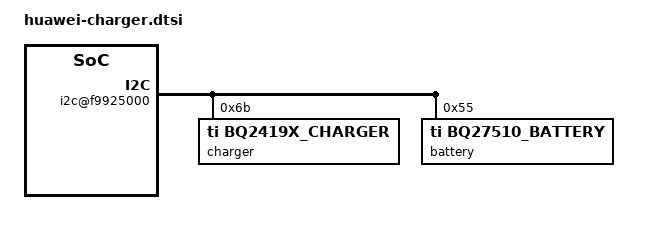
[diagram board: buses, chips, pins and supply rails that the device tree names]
&soc{
    i2c@f9925000 {
       charger: ti,bq2419x {
                cell-index = <0>;
                compatible = "ti,bq2419x_charger";
                reg = <0x6B>;
                max_charger_currentmA = <1880>;
                max_charger_voltagemV = <4200>;
                max_cin_limit_currentmA = <2000>;
                gpio = <114>;
                gpio_int = <67>;
       };
   };
   
   i2c@f9925000 {
       battery: ti,bq27510 {
                compatible = "ti,bq27510_battery";
                reg = <0x55>;
                gpio = <27>;
                config_name = "BQ27510_SONY_3340";
       };
   };
};
